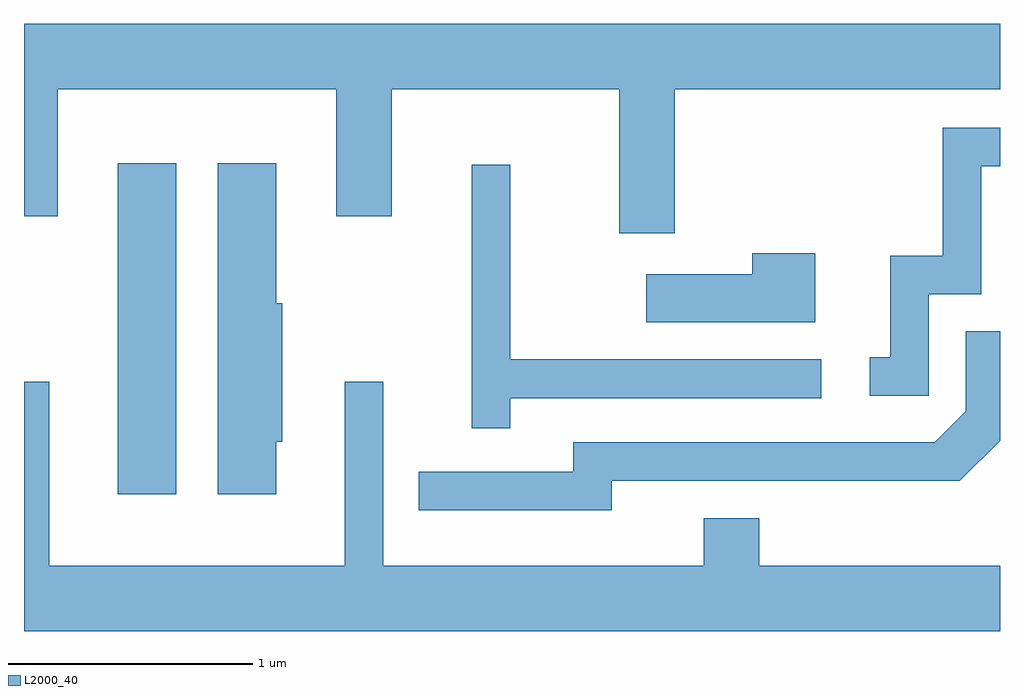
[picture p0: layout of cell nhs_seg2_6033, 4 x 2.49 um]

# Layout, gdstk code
import gdstk
lib = gdstk.Library(unit=1e-6, precision=1e-09)
def R(c, l, rs):  # rectangles x0, y0, x1, y1
    for r in rs: c.add(gdstk.rectangle(r[:2], r[2:], *l))
def P(c, l, *ps):  # polygons
    for p in ps: c.add(gdstk.Polygon(p, *l))
L2000_40 = (2000, 40)

nhs_seg2_6033 = lib.new_cell('nhs_seg2_6033')
R(nhs_seg2_6033, L2000_40, [(363.996,1008.916,364.234,1010.274)])
P(nhs_seg2_6033, L2000_40, [(366.279,1010.576),(367.611,1010.576),(367.611,1010.844),(363.611,1010.844),(363.611,1010.056),(363.749,1010.056),(363.749,1010.576),(364.891,1010.576),(364.891,1010.056),(365.119,1010.056),(365.119,1010.576),(366.051,1010.576),(366.051,1009.986),(366.279,1009.986)],
  [(367.319,1009.736),(367.534,1009.736),(367.534,1010.261),(367.611,1010.261),(367.611,1010.419),(367.376,1010.419),(367.376,1009.894),(367.161,1009.894),(367.161,1009.479),(367.078,1009.479),(367.078,1009.321),(367.319,1009.321)],
  [(364.644,1009.131),(364.669,1009.131),(364.669,1009.699),(364.644,1009.699),(364.644,1010.274),(364.406,1010.274),(364.406,1008.916),(364.644,1008.916)],
  [(365.604,1009.311),(366.878,1009.311),(366.878,1009.469),(365.604,1009.469),(365.604,1010.268),(365.446,1010.268),(365.446,1009.188),(365.604,1009.188)],
  [(366.854,1009.904),(366.596,1009.904),(366.596,1009.819),(366.161,1009.819),(366.161,1009.621),(366.854,1009.621)],
  [(366.019,1008.971),(367.447,1008.971),(367.611,1009.136),(367.611,1009.584),(367.471,1009.584),(367.471,1009.257),(367.344,1009.129),(365.861,1009.129),(365.861,1009.009),(365.228,1009.009),(365.228,1008.851),(366.019,1008.851)],
  [(367.611,1008.624),(366.624,1008.624),(366.624,1008.819),(366.396,1008.819),(366.396,1008.624),(365.084,1008.624),(365.084,1009.378),(364.926,1009.378),(364.926,1008.624),(363.714,1008.624),(363.714,1009.378),(363.611,1009.378),(363.611,1008.356),(367.611,1008.356)])

lib.write_gds('nhs_seg2_6033.gds')
